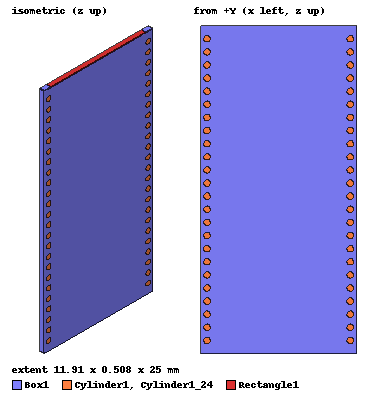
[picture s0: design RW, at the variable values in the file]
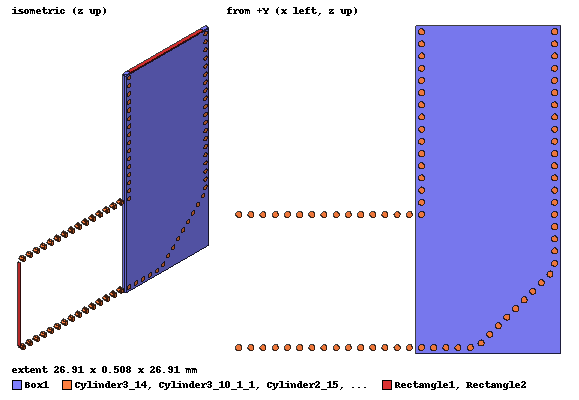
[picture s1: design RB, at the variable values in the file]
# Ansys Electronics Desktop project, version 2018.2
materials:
  vacuum: permittivity=1
  copper: permeability=0.999991 conductivity=58000000
  ferrite: permittivity=12 permeability=1000 conductivity=0.01
  Rogers RT/duroid 5880 (tm): permittivity=2.2 dielectric_loss_tangent=0.0009
  FR4_epoxy: permittivity=4.4 dielectric_loss_tangent=0.02

design RW (HFSS, DrivenModal, model units mm)
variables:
  Weq = wsiw+p
  h = 0.508mm
  l = 25*p
  d = 0.5mm
  p = 1mm
  wsiw = 10.915mm
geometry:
  Box1 [Rogers RT/duroid 5880 (tm)] = box(corner=(0mm, 0mm, 0mm), size=(Weq, h, l))
  Cylinder1 [copper] = cylinder(axis=Y, base_centre=(wsiw+(Weq-wsiw)/2, 0mm, l-p), radius=d/2, height=h)
  Cylinder1_1..Cylinder1_23 = Cylinder1.duplicate_along_line(step=(0mm, 0mm, -p), total=25)  # copies kept: 1..23
  Cylinder1.unite(Cylinder1_1..Cylinder1_23)
  Cylinder1_24 [copper] = Cylinder1.duplicate_mirror(point=(Weq/2, 0mm, l/2), normal=(-1mm, 0mm, 0mm))
  Rectangle1 = rectangle(corner=((Weq-wsiw)/2+d/2, h, l), x_size=wsiw-d, y_size=-h)
  Rectangle2 = rectangle(corner=((Weq-wsiw)/2+d/2, h, 0mm), x_size=wsiw-d, y_size=-h)
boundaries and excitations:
  PerfE1: Perfect E Faces=Box1.face(+y)
  PerfE2: Perfect E Faces=Box1.face(-y)
  1: Wave Port Objects=Rectangle1 NumModes=1 Modes{Mode1{IntLine{middle of Rectangle1.edge(y opposite corner) -> middle of Rectangle1.edge(y at corner)} CharImp=Zpi}}
  2: Wave Port Objects=Rectangle2 NumModes=1 Modes{Mode1{IntLine{middle of Rectangle2.edge(y opposite corner) -> middle of Rectangle2.edge(y at corner)} CharImp=Zpi}}
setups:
  Setup1: HfssDriven Frequency=15GHz MaxDeltaS=0.02 MaximumPasses=6 MinimumPasses=1 MinimumConvergedPasses=1 PercentRefinement=30 BasisOrder=1 PortAccuracy=2
    sweep Sweep: 12GHz to 18GHz, 351 points; Type=Interpolating InterpTolerance=0.5 InterpMaxSolns=250 InterpUsePortImped=false PassivityErrorTolerance=0.0001
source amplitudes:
  1:1: 1W 0deg
  2:1: 0W 0deg
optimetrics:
  ParametricSetup1: Parametric Sim._Setups=[Setup1]
    sweep p: ESTP 0.5mm 1.5mm 4
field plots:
  Mag_E1: E Field in Box1 on Setup1 : LastAdaptive at Freq=15GHz Phase=0deg
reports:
  S Parameter Plot 1: dB(S(1,1)) vs Freq on Setup1 : Sweep [p=all]
  S Parameter Plot 2: dB(S(2,1)) vs Freq on Setup1 : Sweep [p=all]

design RB (HFSS, DrivenModal, model units mm)
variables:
  Weq = wsiw+p
  h = 0.508mm
  l = 15*p
  d = 0.5mm
  p = 1mm
  wsiw = 10.915mm
  delta = 0.5mm
  l_extr = Weq
  l2 = l
  dz = 0.5mm
  Aopt = 10.915mm
  cham = 2mm
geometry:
  Box1 [Rogers RT/duroid 5880 (tm)] = box(corner=(0mm, 0mm, 0mm), size=(Weq, h, l))
  Cylinder1 = cylinder(axis=Y, base_centre=(wsiw+(Weq-wsiw)/2, 0mm, l-p/2), radius=d/2, height=h)
  Cylinder1_12 [copper], Cylinder1_1..Cylinder1_11, Cylinder1_13, Cylinder1_14 = Cylinder1.duplicate_along_line(step=(0mm, 0mm, -p), total=16)  # copies kept: 12, 1..11, 13, 14
  Cylinder1_12.unite(Cylinder1_13, Cylinder1_14, Cylinder1_11, Cylinder1_10, Cylinder1_9, Cylinder1_7, Cylinder1_8, Cylinder1_6, Cylinder1_4, Cylinder1_5, Cylinder1_3, Cylinder1_2, Cylinder1_1, Cylinder1)
  Cylinder1_12_1 [copper] = Cylinder1_12.duplicate_mirror(point=(Weq/2, h/2, l/2), normal=(-1mm, 0mm, 0mm))
  Box1_SweepFaceAlongNormal1 = sweep_along_normal(Box1.face(-z), length=l_extr)
  Box1_SweepFaceAlongNormal1_SweepFaceAlongNormal1 = sweep_along_normal(Box1.face(3 of 6), length=l2)
  Cylinder2 [copper] = cylinder(axis=Y, base_centre=(Weq+(Weq-wsiw)/2, 0mm, -p/2), radius=d/2, height=h)
  Cylinder3 [copper] = cylinder(axis=Y, base_centre=((Weq-wsiw)/2, 0mm, -p/2), radius=d/2, height=h)
  Cylinder2_1..Cylinder2_14 = Cylinder2.duplicate_along_line(step=(p, 0mm, 0mm), total=15)
  Cylinder2.unite(Cylinder2_1..Cylinder2_14)
  Cylinder2_15 [copper] = Cylinder2.duplicate_mirror(point=(Weq+l/2, h/2, -Weq/2), normal=(0mm, 0mm, -1mm))
  Cylinder3_10 [copper] = Cylinder3.duplicate_mirror(point=(Weq/2, h/2, -Weq/2), normal=(1mm, 0mm, 0mm))
  coordinate_system RelativeCS1 = origin=(11.415mm, 0mm, -0.5mm) x=(-11.415mm, 0mm, -11.415mm) y=(-11.415mm, 0mm, 0.5mm)
  Cylinder3_10_1 [copper] = Cylinder3_10.duplicate_along_line(step=(Aopt, 0mm, 0mm), total=2) in RelativeCS1
  Cylinder3_10_2 [copper] = Cylinder3_10.duplicate_mirror(point=(Weq/2, 0mm, -Weq/2), normal=(0mm, 0mm, -1mm))
  Cylinder3_14 [copper], Cylinder3_11, Cylinder3_12, Cylinder3_13 = Cylinder3.duplicate_along_line(step=(0mm, 0mm, -p), total=6)  # copies kept: 4, 1, 2, 3
  coordinate_system RelativeCS2 = origin=(3.6969295mm, 0mm, -8.2180705mm) x=(1mm, 0mm, 0mm) y=(0mm, 1mm, 0mm)
  coordinate_system RelativeCS3 = origin=(0mm, 0mm, 0mm) x=(7.7180705mm, 0mm, 7.7180705mm) y=(7.7180705mm, 0mm, -3.1969295mm) in RelativeCS2
  Cylinder3_10_2_1..Cylinder3_10_2_4 = Cylinder3_10_2.duplicate_along_line(step=(-p, 0mm, 0mm), total=5)
  coordinate_system RelativeCS4 = origin=(1.5756091mm, 0mm, -6.0967502mm) x=(-1.0756091mm, 0mm, 2.5967502mm) y=(9.8393909mm, 0mm, 5.5967502mm)
  Box1.unite(Box1_SweepFaceAlongNormal1, Box1_SweepFaceAlongNormal1_SweepFaceAlongNormal1)
  Rectangle1 = rectangle(corner=(p/2+d/2, h, l), x_size=wsiw-d, y_size=-h)
  Rectangle2 = rectangle(corner=(Weq+l2, h, -(p/2+d/2)), y_size=-h, z_size=-wsiw+d)
  coordinate_system RelativeCS5 = origin=(3.6969295mm, 0.508mm, -8.2180705mm) x=(7.7180705mm, -9.9920072e-16mm, 7.7180705mm) y=(3.7180705mm, -9.9920072e-16mm, -3.1969295mm)
  coordinate_system RelativeCS6 = origin=(3.5969295mm, 0mm, -8.1180705mm) x=(7.7180705mm, 0mm, 7.7180705mm) y=(4.5180705mm, 0mm, -3.1969295mm)
  coordinate_system RelativeCS7 = origin=(3.6969295mm, 0mm, -8.2180705mm) x=(7.7180705mm, 0mm, 7.7180705mm) y=(2.7180705mm, 0mm, -3.1969295mm)
  Cylinder3_10_1_1 [copper], Cylinder3_10_1_2, Cylinder3_10_1_3, Cylinder3_10_1_4 = Cylinder3_10_1.duplicate_along_line(step=(0mm, 1mm, 0mm), total=5) in RelativeCS7
  Cylinder3_10_1_4_1 = Cylinder3_10_1_4.duplicate_mirror(point=(0mm, 0mm, 0mm), normal=(0mm, -1mm, 0mm)) in RelativeCS7
  Cylinder3_10_1_3_1 = Cylinder3_10_1_3.duplicate_mirror(point=(0mm, 0mm, 0mm), normal=(0mm, -1mm, 0mm)) in RelativeCS7
  Cylinder3_10_1_2_1 = Cylinder3_10_1_2.duplicate_mirror(point=(0mm, 0mm, 0mm), normal=(0mm, -1mm, 0mm)) in RelativeCS7
  Cylinder3_10_1_1_1 = Cylinder3_10_1_1.duplicate_mirror(point=(0mm, 0mm, 0mm), normal=(0mm, -1mm, 0mm)) in RelativeCS7
  Cylinder3_14.unite(Cylinder3_13, Cylinder3_12, Cylinder3_11, Cylinder3_10_2_1..Cylinder3_10_2_4)
  Cylinder3_10_1_1.unite(Cylinder3_10_1_1_1, Cylinder3_10_1_2, Cylinder3_10_1_3, Cylinder3_10_1_2_1, Cylinder3_10_1_3_1, Cylinder3_10_1_4, Cylinder3_10_1_4_1)
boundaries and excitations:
  PerfE1: Perfect E Faces=Box1.face(+y)
  PerfE2: Perfect E Faces=Box1.face(-y)
  1: Wave Port Objects=Rectangle1 NumModes=1 Modes{Mode1{IntLine{middle of Rectangle1.edge(y opposite corner) -> middle of Rectangle1.edge(y at corner)} CharImp=Zpi}}
  2: Wave Port Objects=Rectangle2 NumModes=1 Modes{Mode1{IntLine{middle of Rectangle2.edge(y opposite corner) -> middle of Rectangle2.edge(y at corner)} CharImp=Zpi}}
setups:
  Setup1: HfssDriven Frequency=15GHz MaxDeltaS=0.02 MaximumPasses=6 MinimumPasses=1 MinimumConvergedPasses=1 PercentRefinement=30 BasisOrder=1 PortAccuracy=2
    sweep Sweep: 12GHz to 18GHz, 351 points; Type=Interpolating InterpTolerance=0.5 InterpMaxSolns=250 InterpUsePortImped=false PassivityErrorTolerance=0.0001
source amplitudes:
  1:1: 1W 0deg
  2:1: 0W 0deg
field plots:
  Mag_E1: E Field in Box1 on Setup1 : LastAdaptive at Freq=15GHz Phase=0deg
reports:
  S Parameter Plot 1: dB(S(1,1)) vs Freq on Setup1 : Sweep
  S Parameter Plot 2: dB(S(2,1)) vs Freq on Setup1 : Sweep

design PowerDivider(1X2) (HFSS, DrivenModal, model units mm)
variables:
  Weq = wsiw+p
  h = 0.508mm
  l = 8*p
  d = 0.5mm
  p = 1mm
  wsiw = 10.915mm
  delta = p
  l_mid = Weq
  l_sid = 6*p
  l_arm = 10*p
  p1 = 2mm
  p_mid = Weq/11
  p_bend = 2.54mm
  ri = 0.34mm  # optimise 0.075mm..0.225mm
  l_i = 1mm  # optimise 1.5mm..4.5mm
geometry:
  Box1 [Rogers RT/duroid 5880 (tm)] = box(corner=(0mm, 0mm, 0mm), size=(Weq, h, l))
  Cylinder1 [copper] = cylinder(axis=Y, base_centre=((Weq-wsiw)/2, 0mm, l-p/2), radius=d/2, height=h)
  Rectangle1 = rectangle(corner=(Weq/2- wsiw/2+d/2, h, l), x_size=wsiw-d, y_size=-h)
  Box1_SweepFaceAlongNormal1 = sweep_along_normal(Box1.face(-z), length=l_mid)
  Box1_SweepFaceAlongNormal1_SweepFaceAlongNormal1, Box1_SweepFaceAlongNormal1_SweepFaceAlongNormal2 = sweep_along_normal(Box1.face(3 of 6, 5 of 6), length=l_sid)
  Box1_SweepFaceAlongNormal1_SweepFaceAlongNormal2_SweepFaceAlongNormal2 = sweep_along_normal(Box1.face(1 of 6), length=Weq)
  Box1_SweepFaceAlongNormal1_SweepFaceAlongNormal1_SweepFaceAlongNormal2 = sweep_along_normal(Box1.face(1 of 6), length=Weq)
  Box1_SweepFaceAlongNormal1_SweepFaceAlongNormal1_SweepFaceAlongNormal2_SweepFaceAlongNormal1 = sweep_along_normal(Box1.face(3 of 6), length=l_arm)
  Box1_SweepFaceAlongNormal1_SweepFaceAlongNormal2_SweepFaceAlongNormal2_SweepFaceAlongNormal1 = sweep_along_normal(Box1.face(3 of 6), length=l_arm)
  Cylinder1_1..Cylinder1_7 = Cylinder1.duplicate_along_line(step=(0mm, 0mm, -p), total=8)
  Cylinder2 = cylinder(axis=Y, base_centre=((Weq-wsiw)/2, 0mm, -p/2), radius=d/2, height=h)
  Cylinder3 [copper] = cylinder(axis=Y, base_centre=((Weq-wsiw)/2-p, 0mm, -p/2), radius=d/2, height=h)
  Cylinder3_1..Cylinder3_5 = Cylinder3.duplicate_along_line(step=(-p, 0mm, 0mm), total=6)
  Cylinder4 [copper] = cylinder(axis=Y, base_centre=((Weq-wsiw)/2-p-l_sid, 0mm, -p/2), radius=d/2, height=h)
  Cylinder5 = cylinder(axis=Y, base_centre=((Weq-wsiw)/2-p-l_sid-wsiw, 0mm, -p/2-wsiw), radius=d/2, height=h)
  Cylinder6 [copper] = cylinder(axis=Y, base_centre=((Weq-wsiw)/2-p-l_sid, 0mm, -p/2-wsiw), radius=d/2, height=h)
  coordinate_system RelativeCS1 = origin=(-6.5mm, 0mm, -11.415mm) x=(-11.415mm, 0mm, 11.415mm) y=(0.5mm, 0mm, 11.415mm)
  Cylinder6_1 = Cylinder6.duplicate_along_line(step=(wsiw, 0mm, 0mm), total=2) in RelativeCS1
  Cylinder4_1..Cylinder4_4 = Cylinder4.duplicate_along_line(step=(-1mm, 0mm, 0mm), total=5)
  Cylinder5_1..Cylinder5_4 = Cylinder5.duplicate_along_line(step=(0mm, 0mm, p), total=5)
  coordinate_system RelativeCS2 = origin=(-10.5mm, 0mm, -0.5mm) x=(-3.7180705mm, 0mm, -3.1969295mm) y=(-7.415mm, 0mm, 0.5mm)
  coordinate_system RelativeCS3 = origin=(9.7516328mm, -0.7349206mm, 0mm) x=(-4.8481232mm, 0.7349206mm, 0mm) y=(-5.6683935mm, -10.149214mm, 0mm) in RelativeCS2
  Cylinder7 [copper] = cylinder(axis=Y, base_centre=((Weq-wsiw)/2-p-l_sid-wsiw, 0mm, -p/2-wsiw-p), radius=d/2, height=h)
  Cylinder7_1..Cylinder7_9 = Cylinder7.duplicate_along_line(step=(0mm, 0mm, -p), total=10)
  Cylinder7.unite(Cylinder7_1..Cylinder7_9)
  Cylinder5.unite(Cylinder5_1..Cylinder5_4)
  Cylinder4.unite(Cylinder4_1..Cylinder4_4)
  Cylinder3.unite(Cylinder3_1..Cylinder3_5)
  coordinate_system RelativeCS4 = origin=(-l_sid/2, 0mm, -l_mid/2) x=(1mm, 0mm, 0mm) y=(0mm, 1mm, 0mm)
  Cylinder3_6 = Cylinder3.duplicate_mirror(point=(0mm, 0mm, 0mm), normal=(0mm, 0mm, -1mm)) in RelativeCS4
  Cylinder8 [copper] = cylinder(axis=Y, base_centre=((Weq-wsiw)/2, 0mm, -p/2-wsiw), radius=d/2, height=h)
  Cylinder8_1..Cylinder8_10 = Cylinder8.duplicate_along_line(step=(p_mid, 0mm, 0mm), total=11)
  Cylinder7_10 = Cylinder7.duplicate_mirror(point=(-l_sid-Weq/2, 0mm, -l_mid-l_arm/2), normal=(1mm, 0mm, 0mm))
  coordinate_system RelativeCS5 = origin=(Weq/2, 0mm, -l_mid/2) x=(1mm, 0mm, 0mm) y=(0mm, 1mm, 0mm)
  Cylinder3_7 = Cylinder3.duplicate_mirror(point=(0mm, 0mm, 0mm), normal=(1mm, 0mm, 0mm)) in RelativeCS5
  Cylinder4_5 [copper] = Cylinder4.duplicate_mirror(point=(0mm, 0mm, 0mm), normal=(1mm, 0mm, 0mm)) in RelativeCS5
  Cylinder5_5 = Cylinder5.duplicate_mirror(point=(0mm, 0mm, 0mm), normal=(1mm, 0mm, 0mm)) in RelativeCS5
  Cylinder6_1_1 = Cylinder6_1.duplicate_mirror(point=(0mm, 0mm, 0mm), normal=(1mm, 0mm, 0mm)) in RelativeCS5
  Cylinder7_11 = Cylinder7.duplicate_mirror(point=(0mm, 0mm, 0mm), normal=(1mm, 0mm, 0mm)) in RelativeCS5
  Cylinder7_10_1 = Cylinder7_10.duplicate_mirror(point=(0mm, 0mm, 0mm), normal=(1mm, 0mm, 0mm)) in RelativeCS5
  Cylinder3_6_1 = Cylinder3_6.duplicate_mirror(point=(0mm, 0mm, 0mm), normal=(1mm, 0mm, 0mm)) in RelativeCS5
  Cylinder2_1 [copper] = Cylinder2.duplicate_mirror(point=(0mm, 0.5mm, 0mm), normal=(1mm, 0mm, 0mm)) in RelativeCS5
  Cylinder1.unite(Cylinder1_1..Cylinder1_7)
  Cylinder1_8 = Cylinder1.duplicate_mirror(point=(0mm, 0.5mm, 0mm), normal=(1mm, 0mm, 0mm)) in RelativeCS5
  Cylinder2_1.unite(Cylinder2)
  Cylinder3.unite(Cylinder3_6, Cylinder3_6_1, Cylinder3_7)
  Cylinder6_2 = Cylinder6.duplicate_mirror(point=(0mm, 0.5mm, 0mm), normal=(1mm, 0mm, 0mm)) in RelativeCS5
  Cylinder6.unite(Cylinder6_2)
  Cylinder7.unite(Cylinder7_10, Cylinder7_10_1, Cylinder7_11)
  Cylinder8.unite(Cylinder8_1..Cylinder8_10)
  Cylinder1.unite(Cylinder1_8)
  Box1.unite(Box1_SweepFaceAlongNormal1, Box1_SweepFaceAlongNormal1_SweepFaceAlongNormal1, Box1_SweepFaceAlongNormal1_SweepFaceAlongNormal1_SweepFaceAlongNormal2, Box1_SweepFaceAlongNormal1_SweepFaceAlongNormal1_SweepFaceAlongNormal2_SweepFaceAlongNormal1, Box1_SweepFaceAlongNormal1_SweepFaceAlongNormal2, Box1_SweepFaceAlongNormal1_SweepFaceAlongNormal2_SweepFaceAlongNormal2_SweepFaceAlongNormal1, Box1_SweepFaceAlongNormal1_SweepFaceAlongNormal2_SweepFaceAlongNormal2)
  coordinate_system RelativeCS7 = origin=(-l_sid-Weq/2, 0mm, -l_mid-l_arm) x=(1mm, 0mm, 0mm) y=(0mm, 1mm, 0mm)
  Rectangle2 = rectangle(corner=(wsiw/2-d/2, h, 0), x_size=-wsiw+d, y_size=-h) in RelativeCS7
  Rectangle2_1 = Rectangle2.duplicate_mirror(point=(0mm, 0mm, 0mm), normal=(1mm, 0mm, 0mm)) in RelativeCS5
  Cylinder9 [copper] = cylinder(axis=Y, base_centre=(0mm, 0mm, -l_i), radius=ri, height=h) in RelativeCS5
  coordinate_system RelativeCS8 = origin=(10.915mm, 0mm, 0mm) x=(-10.915mm, 0mm, 0mm) y=(-0.36850236mm, -4.8896434mm, 0mm) in RelativeCS1
  Cylinder6_1_2..Cylinder6_1_5 = Cylinder6_1.duplicate_along_line(step=(0mm, 1mm, 0mm), total=5) in RelativeCS8
  Cylinder6_1_5_1 = Cylinder6_1_5.duplicate_mirror(point=(0mm, 0mm, 0mm), normal=(0mm, -1mm, 0mm)) in RelativeCS8
  Cylinder6_1_4_1 = Cylinder6_1_4.duplicate_mirror(point=(0mm, 0mm, 0mm), normal=(0mm, -1mm, 0mm)) in RelativeCS8
  Cylinder6_1_3_1 = Cylinder6_1_3.duplicate_mirror(point=(0mm, 0mm, 0mm), normal=(0mm, -1mm, 0mm)) in RelativeCS8
  Cylinder6_1_2_1 = Cylinder6_1_2.duplicate_mirror(point=(0mm, 0mm, 0mm), normal=(0mm, -1mm, 0mm)) in RelativeCS8
  Cylinder6_1_5_1.unite(Cylinder6_1_5, Cylinder6_1_4_1, Cylinder6_1_4, Cylinder6_1_3_1, Cylinder6_1_3, Cylinder6_1_2_1, Cylinder6_1_2)
  Cylinder6_1_5_1_1 = Cylinder6_1_5_1.duplicate_mirror(point=(0mm, 0mm, 0mm), normal=(-1mm, 0mm, 0mm)) in RelativeCS5
  Cylinder4_5.unite(Cylinder5_5, Cylinder5, Cylinder6_1_1, Cylinder6_1, Cylinder6_1_5_1, Cylinder6_1_5_1_1)
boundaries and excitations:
  PerfE1: Perfect E Faces=Box1.face(4 of 6, 6 of 6)
  1: Wave Port Faces=Rectangle1.face NumModes=1 Modes{Mode1{IntLine{middle of Rectangle1.edge(y opposite corner) -> middle of Rectangle1.edge(y at corner)} CharImp=Zpi}}
  2: Wave Port Faces=Rectangle2_1.face NumModes=1 Modes{Mode1{IntLine{middle of Rectangle2_1.edge(3 of 4) -> middle of Rectangle2_1.edge(1 of 4)} CharImp=Zpi}}
  3: Wave Port Faces=Rectangle2.face(at (-11.9575, 0.254, -21.915)) NumModes=1 Modes{Mode1{IntLine{middle of Rectangle2.edge(3 of 4) -> middle of Rectangle2.edge(1 of 4)} CharImp=Zpi}}
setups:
  Setup1: HfssDriven Frequency=15GHz MaxDeltaS=0.02 MaximumPasses=6 MinimumPasses=1 MinimumConvergedPasses=1 PercentRefinement=30 BasisOrder=1 PortAccuracy=2
    sweep Sweep: 12GHz to 18GHz, 351 points; Type=Interpolating InterpTolerance=0.5 InterpMaxSolns=250 InterpUsePortImped=false PassivityErrorTolerance=0.0001
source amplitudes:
  1:1: 1W 0deg
  2:1, 3:1: 0W 0deg
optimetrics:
  OptimizationSetup1: Optimization Optimizer="Quasi Newton" AnalysisStopOptions{StopForNumIteration MaxNumIteration=1000 MinNumIteration=10} CostFuncNormType=L2 Acceptable_Cost=0 Noise=0.0001 UpdateDesignWhenDone
    vary l_i: Min=0.55mm Max=1.15mm MinStep=0.03mm MaxStep=0.3mm MinFocus=1.5mm MaxFocus=4.5mm start=0.88mm
    vary ri: Min=0.25mm Max=0.45mm MinStep=0.0015mm MaxStep=0.015mm MinFocus=0.075mm MaxFocus=0.225mm start=0.36mm
    goal dB(S(1,1)) <= -20 weight 1 on Setup1 : Sweep at Freq 13GHz to 17GHz
  ParametricSetup1: Parametric Sim._Setups=[Setup1]
    sweep ri: LIN 0.2mm 0.4mm 0.1mm
    sweep l_i: LIN 0.4mm 1mm 0.2mm
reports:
  S Parameter Plot 1: dB(S(1,1)) vs Freq on Setup1 : Sweep [ri=0.34mm l_i=1mm]; markers m1 at 15GHz
  S Parameter Plot 2: dB(S(2,1)), dB(S(3,1)) vs Freq on Setup1 : Sweep [ri=0.34mm l_i=1mm]; markers m1 at 15GHz
  S Parameter Plot 3: arg(S(2,1)), arg(S(3,1)) vs Freq on Setup1 : Sweep [ri=0.34mm l_i=1mm]

design PowerDivider(1X4) (HFSS, DrivenModal, model units mm)
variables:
  Weq = wsiw+p
  h = 0.5mm
  l = 8*p
  d = 0.5mm
  p = 1mm
  wsiw = 11mm
  delta = p
  l_mid = Weq
  l_sid = 6*p
  l_arm = 12*p
  p1 = 2mm
  p_mid = Weq/11
  p_bend = 2.54mm
  ri = 0.55mm  # optimise 0.075mm..0.225mm; sensitivity 0.18mm..0.54mm
  l_i = 1mm  # optimise 1.5mm..4.5mm; sensitivity 0.44mm..1.32mm
  l_sid2 = 6mm
  l_arm2 = 10mm
  li2 = 1mm  # optimise 0.44mm..1.32mm; sensitivity 0.45mm..1.35mm
  ri2 = 0.51mm  # optimise 0.18mm..0.54mm; sensitivity 0.18mm..0.54mm
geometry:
  Box1 = box(corner=(0mm, 0mm, 0mm), size=(Weq, h, l))
  Cylinder1 = cylinder(axis=Y, base_centre=((Weq-wsiw)/2, 0mm, l-p/2), radius=d/2, height=h)
  Rectangle1 = rectangle(corner=(Weq/2- wsiw/2+d/2, h, l), x_size=wsiw-d, y_size=-h)
  Box1_SweepFaceAlongNormal1 [Rogers RT/duroid 5880 (tm)] = sweep_along_normal(Box1_SweepFaceAlongNormal1.face(2 of 6), length=l_mid)
  Box1_SweepFaceAlongNormal1_SweepFaceAlongNormal1, Box1_SweepFaceAlongNormal1_SweepFaceAlongNormal2 = sweep_along_normal(Box1_SweepFaceAlongNormal1.face(at (12, 0.25, -6), at (0, 0.25, -6)), length=l_sid)
  Box1_SweepFaceAlongNormal1_SweepFaceAlongNormal2_SweepFaceAlongNormal2 = sweep_along_normal(Box1_SweepFaceAlongNormal1.face(1 of 6), length=Weq)
  Box1_SweepFaceAlongNormal1_SweepFaceAlongNormal1_SweepFaceAlongNormal2 = sweep_along_normal(Box1_SweepFaceAlongNormal1.face(1 of 6), length=Weq)
  Box1_SweepFaceAlongNormal1_SweepFaceAlongNormal1_SweepFaceAlongNormal2_SweepFaceAlongNormal1 = sweep_along_normal(Box1_SweepFaceAlongNormal1.face(3 of 6), length=l_arm)
  Box1_SweepFaceAlongNormal1_SweepFaceAlongNormal2_SweepFaceAlongNormal2_SweepFaceAlongNormal1 = sweep_along_normal(Box1_SweepFaceAlongNormal1.face(3 of 6), length=l_arm)
  Cylinder1_1..Cylinder1_7 = Cylinder1.duplicate_along_line(step=(0mm, 0mm, -p), total=8)
  Cylinder2 = cylinder(axis=Y, base_centre=((Weq-wsiw)/2, 0mm, -p/2), radius=d/2, height=h)
  Cylinder3 = cylinder(axis=Y, base_centre=((Weq-wsiw)/2-p, 0mm, -p/2), radius=d/2, height=h)
  Cylinder3_1..Cylinder3_5 = Cylinder3.duplicate_along_line(step=(-p, 0mm, 0mm), total=6)
  Cylinder4 = cylinder(axis=Y, base_centre=((Weq-wsiw)/2-p-l_sid, 0mm, -p/2), radius=d/2, height=h)
  Cylinder5 = cylinder(axis=Y, base_centre=((Weq-wsiw)/2-p-l_sid-wsiw, 0mm, -p/2-wsiw), radius=d/2, height=h)
  Cylinder6 = cylinder(axis=Y, base_centre=((Weq-wsiw)/2-p-l_sid, 0mm, -p/2-wsiw), radius=d/2, height=h)
  coordinate_system RelativeCS1 = origin=(-6.5mm, 0mm, -11.415mm) x=(-11.415mm, 0mm, 11.415mm) y=(0.5mm, 0mm, 11.415mm)
  Cylinder6_1 = Cylinder6.duplicate_along_line(step=(wsiw, 0mm, 0mm), total=2) in RelativeCS1
  Cylinder4_1..Cylinder4_4 = Cylinder4.duplicate_along_line(step=(-1mm, 0mm, 0mm), total=5)
  Cylinder5_1..Cylinder5_4 = Cylinder5.duplicate_along_line(step=(0mm, 0mm, p), total=5)
  coordinate_system RelativeCS2 = origin=(-10.5mm, 0mm, -0.5mm) x=(-3.7180705mm, 0mm, -3.1969295mm) y=(-7.415mm, 0mm, 0.5mm)
  Cylinder4_4_1..Cylinder4_4_4 = Cylinder4_4.duplicate_along_line(step=(p, 0mm, 0mm), total=5) in RelativeCS2
  coordinate_system RelativeCS3 = origin=(9.7516328mm, -0.7349206mm, 0mm) x=(-4.8481232mm, 0.7349206mm, 0mm) y=(-5.6683935mm, -10.149214mm, 0mm) in RelativeCS2
  Cylinder5_4_1..Cylinder5_4_4 = Cylinder5_4.duplicate_along_line(step=(p, 0mm, 0mm), total=5) in RelativeCS3
  Cylinder5.unite(Cylinder5_1..Cylinder5_4)
  Cylinder4.unite(Cylinder4_1..Cylinder4_4)
  Cylinder3.unite(Cylinder3_1..Cylinder3_5)
  Cylinder5_4_1.unite(Cylinder5_4_2, Cylinder5_4_3, Cylinder5_4_4, Cylinder4_4_4, Cylinder4_4_3, Cylinder4_4_2, Cylinder4_4_1)
  coordinate_system RelativeCS4 = origin=(-l_sid/2, 0mm, -l_mid/2) x=(1mm, 0mm, 0mm) y=(0mm, 1mm, 0mm)
  Cylinder3_6 = Cylinder3.duplicate_mirror(point=(0mm, 0mm, 0mm), normal=(0mm, 0mm, -1mm)) in RelativeCS4
  Cylinder8 = cylinder(axis=Y, base_centre=((Weq-wsiw)/2, 0mm, -p/2-wsiw), radius=d/2, height=h)
  Cylinder8_1..Cylinder8_10 = Cylinder8.duplicate_along_line(step=(p_mid, 0mm, 0mm), total=11)
  coordinate_system RelativeCS5 = origin=(Weq/2, 0mm, -l_mid/2) x=(1mm, 0mm, 0mm) y=(0mm, 1mm, 0mm)
  Cylinder3_7 = Cylinder3.duplicate_mirror(point=(0mm, 0mm, 0mm), normal=(1mm, 0mm, 0mm)) in RelativeCS5
  Cylinder4_5 [copper] = Cylinder4.duplicate_mirror(point=(0mm, 0mm, 0mm), normal=(1mm, 0mm, 0mm)) in RelativeCS5
  Cylinder5_4_1_1 = Cylinder5_4_1.duplicate_mirror(point=(0mm, 0mm, 0mm), normal=(1mm, 0mm, 0mm)) in RelativeCS5
  Cylinder5_5 = Cylinder5.duplicate_mirror(point=(0mm, 0mm, 0mm), normal=(1mm, 0mm, 0mm)) in RelativeCS5
  Cylinder6_1_1 = Cylinder6_1.duplicate_mirror(point=(0mm, 0mm, 0mm), normal=(1mm, 0mm, 0mm)) in RelativeCS5
  Cylinder3_6_1 = Cylinder3_6.duplicate_mirror(point=(0mm, 0mm, 0mm), normal=(1mm, 0mm, 0mm)) in RelativeCS5
  Cylinder2_1 = Cylinder2.duplicate_mirror(point=(0mm, 0.5mm, 0mm), normal=(1mm, 0mm, 0mm)) in RelativeCS5
  Cylinder1.unite(Cylinder1_1..Cylinder1_7)
  Cylinder1_8 = Cylinder1.duplicate_mirror(point=(0mm, 0.5mm, 0mm), normal=(1mm, 0mm, 0mm)) in RelativeCS5
  Cylinder2_1.unite(Cylinder2)
  Cylinder3.unite(Cylinder3_6, Cylinder3_6_1, Cylinder3_7)
  Cylinder6_2 = Cylinder6.duplicate_mirror(point=(0mm, 0.5mm, 0mm), normal=(1mm, 0mm, 0mm)) in RelativeCS5
  Cylinder6.unite(Cylinder6_2)
  Cylinder8.unite(Cylinder8_1..Cylinder8_10)
  Cylinder1.unite(Cylinder1_8)
  Cylinder9 [copper] = cylinder(axis=Y, base_centre=(0, 0mm, -l_i), radius=ri, height=h) in RelativeCS5
  coordinate_system RelativeCS7 = origin=(-l_sid-Weq/2, 0mm, -l_mid-l_arm) x=(1mm, 0mm, 0mm) y=(0mm, 1mm, 0mm)
  Box1_SweepFaceAlongNormal1_SweepFaceAlongNormal1_SweepFaceAlongNormal2_SweepFaceAlongNormal1_SweepFaceAlongNormal2 = sweep_along_normal(Box1_SweepFaceAlongNormal1.face(3 of 6), length=l_sid2)
  Box1_SweepFaceAlongNormal1_SweepFaceAlongNormal2_SweepFaceAlongNormal2_SweepFaceAlongNormal1_SweepFaceAlongNormal2 = sweep_along_normal(Box1_SweepFaceAlongNormal1.face(3 of 6), length=l_sid2)
  Box1_SweepFaceAlongNormal1_SweepFaceAlongNormal1_SweepFaceAlongNormal3 = sweep_along_normal(Box1_SweepFaceAlongNormal1.face(3 of 6), length=l_arm)
  Box1_SweepFaceAlongNormal1_SweepFaceAlongNormal3 = sweep_along_normal(Box1_SweepFaceAlongNormal1.face(at (6, 0.25, -12)), length=l_arm)
  Box1_SweepFaceAlongNormal1_SweepFaceAlongNormal2_SweepFaceAlongNormal3 = sweep_along_normal(Box1_SweepFaceAlongNormal1.face(3 of 6), length=l_arm)
  Box1_SweepFaceAlongNormal1_SweepFaceAlongNormal1_SweepFaceAlongNormal2_SweepFaceAlongNormal1_SweepFaceAlongNormal2_SweepFaceAlongNormal1 = sweep_along_normal(Box1_SweepFaceAlongNormal1_SweepFaceAlongNormal1_SweepFaceAlongNormal2_SweepFaceAlongNormal1_SweepFaceAlongNormal2.face(1 of 6), length=Weq)
  Box1_SweepFaceAlongNormal1_SweepFaceAlongNormal1_SweepFaceAlongNormal2_SweepFaceAlongNormal1_SweepFaceAlongNormal2.delete()
  Box1_SweepFaceAlongNormal1_SweepFaceAlongNormal2_SweepFaceAlongNormal2_SweepFaceAlongNormal1_SweepFaceAlongNormal2_SweepFaceAlongNormal1 = sweep_along_normal(Box1_SweepFaceAlongNormal1_SweepFaceAlongNormal2_SweepFaceAlongNormal2_SweepFaceAlongNormal1_SweepFaceAlongNormal2.face(1 of 6), length=Weq)
  Box1_SweepFaceAlongNormal1_SweepFaceAlongNormal2_SweepFaceAlongNormal2_SweepFaceAlongNormal1_SweepFaceAlongNormal2.delete()
  Box1_SweepFaceAlongNormal1_SweepFaceAlongNormal1_SweepFaceAlongNormal2_SweepFaceAlongNormal1_SweepFaceAlongNormal2_SweepFaceAlongNormal1_SweepFaceAlongNormal1 = sweep_along_normal(Box1_SweepFaceAlongNormal1.face(3 of 6), length=l_arm2)
  Box1_SweepFaceAlongNormal1_SweepFaceAlongNormal2_SweepFaceAlongNormal2_SweepFaceAlongNormal1_SweepFaceAlongNormal2_SweepFaceAlongNormal1_SweepFaceAlongNormal1 = sweep_along_normal(Box1_SweepFaceAlongNormal1.face(3 of 6), length=l_arm2)
  Box1_SweepFaceAlongNormal1_SweepFaceAlongNormal1_SweepFaceAlongNormal3_SweepFaceAlongNormal1 = sweep_along_normal(Box1_SweepFaceAlongNormal1.face(1 of 6), length=l_arm2)
  Box1_SweepFaceAlongNormal1_SweepFaceAlongNormal3_SweepFaceAlongNormal1 = sweep_along_normal(Box1_SweepFaceAlongNormal1.face(1 of 6), length=l_arm2)
  Box1_SweepFaceAlongNormal1_SweepFaceAlongNormal2_SweepFaceAlongNormal3_SweepFaceAlongNormal1 = sweep_along_normal(Box1_SweepFaceAlongNormal1.face(1 of 6), length=l_arm2)
  Cylinder4_5_1 = Cylinder4_5.duplicate_along_line(step=(18mm, 0mm, -12mm), total=2)
  Cylinder5_4_1_1_1 = Cylinder5_4_1_1.duplicate_along_line(step=(18mm, 0mm, -12mm), total=2)
  Cylinder5_5_1 = Cylinder5_5.duplicate_along_line(step=(18mm, 0mm, -12mm), total=2)
  Cylinder6_1_1_1 = Cylinder6_1_1.duplicate_along_line(step=(18mm, 0mm, -12mm), total=2)
  Cylinder4_6 = Cylinder4.duplicate_along_line(step=(-18mm, 0mm, -12mm), total=2)
  Cylinder5_4_1_2 = Cylinder5_4_1.duplicate_along_line(step=(-18mm, 0mm, -12mm), total=2)
  Cylinder6_1_2 = Cylinder6_1.duplicate_along_line(step=(-18mm, 0mm, -12mm), total=2)
  Cylinder5_6 = Cylinder5.duplicate_along_line(step=(-18mm, 0mm, -12mm), total=2)
  Cylinder8_11 = Cylinder8.duplicate_along_line(step=(18mm, 0mm, -12mm), total=2)
  Cylinder8_12 = Cylinder8.duplicate_along_line(step=(-18mm, 0mm, -12mm), total=2)
  [Cylinder5_5_1, Cylinder4_5_1, Cylinder5_4_1_1_1, Cylinder6_1_1_1, Box1_SweepFaceAlongNormal1_SweepFaceAlongNormal1_SweepFaceAlongNormal2_SweepFaceAlongNormal1_SweepFaceAlongNormal2_SweepFaceAlongNormal1_SweepFaceAlongNormal1, Box1_SweepFaceAlongNormal1_SweepFaceAlongNormal1_SweepFaceAlongNormal2_SweepFaceAlongNormal1_SweepFaceAlongNormal2_SweepFaceAlongNormal1].move(-6mm, 0mm, 0mm)
  [Cylinder5_4_1_2, Cylinder6_1_2, Cylinder4_6, Cylinder5_6, Box1_SweepFaceAlongNormal1_SweepFaceAlongNormal2_SweepFaceAlongNormal2_SweepFaceAlongNormal1_SweepFaceAlongNormal2_SweepFaceAlongNormal1, Box1_SweepFaceAlongNormal1_SweepFaceAlongNormal2_SweepFaceAlongNormal2_SweepFaceAlongNormal1_SweepFaceAlongNormal2_SweepFaceAlongNormal1_SweepFaceAlongNormal1].move(6mm, 0mm, 0mm)
  Box1_SweepFaceAlongNormal1_SweepFaceAlongNormal1_SweepFaceAlongNormal3.unite(Box1_SweepFaceAlongNormal1_SweepFaceAlongNormal3, Box1_SweepFaceAlongNormal1_SweepFaceAlongNormal2_SweepFaceAlongNormal3)
  Cylinder5_4_1_1_1_1 = Cylinder5_4_1_1_1.duplicate_mirror(point=(24mm, 0mm, -18mm), normal=(-1mm, 0mm, 0mm))
  Cylinder4_5_1_1 = Cylinder4_5_1.duplicate_mirror(point=(24mm, 0mm, -18mm), normal=(-1mm, 0mm, 0mm))
  Cylinder6_1_1_1_1 = Cylinder6_1_1_1.duplicate_mirror(point=(24mm, 0mm, -18mm), normal=(-1mm, 0mm, 0mm))
  Cylinder5_5_1_1 = Cylinder5_5_1.duplicate_mirror(point=(24mm, 0mm, -18mm), normal=(-1mm, 0mm, 0mm))
  Cylinder5_4_1_2_1 = Cylinder5_4_1_2.duplicate_mirror(point=(-12mm, 0mm, -18mm), normal=(1mm, 0mm, 0mm))
  Cylinder6_1_2_1 = Cylinder6_1_2.duplicate_mirror(point=(-12mm, 0mm, -18mm), normal=(1mm, 0mm, 0mm))
  Cylinder4_6_1 = Cylinder4_6.duplicate_mirror(point=(-12mm, 0mm, -18mm), normal=(1mm, 0mm, 0mm))
  Cylinder5_6_1 = Cylinder5_6.duplicate_mirror(point=(-12mm, 0mm, -18mm), normal=(1mm, 0mm, 0mm))
  Cylinder10 = cylinder(axis=Y, base_centre=(3*Weq+l_sid-p/2, 0mm, -(l_mid+Weq+p/2)), radius=d/2, height=h)
  Cylinder11 = cylinder(axis=Y, base_centre=(3*Weq+l_sid-p/2-wsiw, 0mm, -(l_mid+Weq-p/2)), radius=d/2, height=h)
  Cylinder11_1 = Cylinder11.duplicate_mirror(point=(1.5*Weq+l_sid, 0mm, -(l_mid+Weq)), normal=(-1mm, 0mm, 0mm))
  Cylinder11_1_1 = Cylinder11_1.duplicate_along_line(step=(0mm, 0mm, -p), total=2)
  Cylinder11_1_1_1..Cylinder11_1_1_9 = Cylinder11_1_1.duplicate_along_line(step=(3.5527137e-15mm, 0mm, -1mm), total=10)
  Cylinder12 = cylinder(axis=Y, base_centre=(Weq/2+p/2, 0mm, -(l_mid+Weq+p/2)), radius=d/2, height=h)
  Cylinder12_1..Cylinder12_9 = Cylinder12.duplicate_along_line(step=(0mm, 0mm, -p), total=10)
  Cylinder12_9.unite(Cylinder12_8, Cylinder12_7, Cylinder12_5, Cylinder12_1..Cylinder12_4, Cylinder12_6, Cylinder12)
  Cylinder12_9_1 = Cylinder12_9.duplicate_mirror(point=(0mm, 0mm, 0mm), normal=(-1mm, 0mm, 0mm)) in RelativeCS5
  Cylinder11_1_1_10 = Cylinder11_1_1.duplicate_mirror(point=(0mm, 0mm, 0mm), normal=(-1mm, 0mm, 0mm)) in RelativeCS5
  Cylinder11_1_1_1_1 = Cylinder11_1_1_1.duplicate_mirror(point=(0mm, 0mm, 0mm), normal=(-1mm, 0mm, 0mm)) in RelativeCS5
  Cylinder11_1_1_2_1 = Cylinder11_1_1_2.duplicate_mirror(point=(0mm, 0mm, 0mm), normal=(-1mm, 0mm, 0mm)) in RelativeCS5
  Cylinder11_1_1_3_1 = Cylinder11_1_1_3.duplicate_mirror(point=(0mm, 0mm, 0mm), normal=(-1mm, 0mm, 0mm)) in RelativeCS5
  Cylinder11_1_1_5_1 = Cylinder11_1_1_5.duplicate_mirror(point=(0mm, 0mm, 0mm), normal=(-1mm, 0mm, 0mm)) in RelativeCS5
  Cylinder11_1_1_4_1 = Cylinder11_1_1_4.duplicate_mirror(point=(0mm, 0mm, 0mm), normal=(-1mm, 0mm, 0mm)) in RelativeCS5
  Cylinder11_1_1_6_1 = Cylinder11_1_1_6.duplicate_mirror(point=(0mm, 0mm, 0mm), normal=(-1mm, 0mm, 0mm)) in RelativeCS5
  Cylinder11_1_1_7_1 = Cylinder11_1_1_7.duplicate_mirror(point=(0mm, 0mm, 0mm), normal=(-1mm, 0mm, 0mm)) in RelativeCS5
  Cylinder11_1_1_8_1 = Cylinder11_1_1_8.duplicate_mirror(point=(0mm, 0mm, 0mm), normal=(-1mm, 0mm, 0mm)) in RelativeCS5
  Cylinder11_1_1_9_1 = Cylinder11_1_1_9.duplicate_mirror(point=(0mm, 0mm, 0mm), normal=(-1mm, 0mm, 0mm)) in RelativeCS5
  Cylinder11_1_2 = Cylinder11_1.duplicate_mirror(point=(0mm, 0mm, 0mm), normal=(-1mm, 0mm, 0mm)) in RelativeCS5
  Cylinder6_3 = Cylinder6.duplicate_along_line(step=(0mm, 0mm, -p), total=2) in RelativeCS5
  Cylinder10_1..Cylinder10_9 = Cylinder10.duplicate_along_line(step=(0mm, 0mm, -p), total=10) in RelativeCS5
  Cylinder10_1.unite(Cylinder10, Cylinder10_2..Cylinder10_9)
  Cylinder10_1_1 = Cylinder10_1.duplicate_mirror(point=(30mm, 0mm, -23mm), normal=(-1mm, 0mm, 0mm)) in RelativeCS5
  Cylinder13 = cylinder(axis=Y, base_centre=((2*Weq+l_sid-p/2), 0mm, -(l_mid+p/2)), radius=d/2, height=h)
  Cylinder13_1 = Cylinder13.duplicate_mirror(point=(0mm, 0mm, 0mm), normal=(-1mm, 0mm, 0mm)) in RelativeCS5
  Cylinder10_1_2 = Cylinder10_1.duplicate_mirror(point=(0mm, 0mm, 0mm), normal=(-1mm, 0mm, 0mm)) in RelativeCS5
  Cylinder10_1_1_1 = Cylinder10_1_1.duplicate_mirror(point=(0mm, 0mm, 0mm), normal=(-1mm, 0mm, 0mm)) in RelativeCS5
  coordinate_system RelativeCS8 = origin=(1.5*Weq+l_sid, 0mm, -(l_mid+Weq/2)) x=(1mm, 0mm, 0mm) y=(0mm, 1mm, 0mm)
  ind2 [copper] = cylinder(axis=Y, base_centre=(0mm, 0mm, -(li2)), radius=ri2, height=h) in RelativeCS8
  ind2_1 = ind2.duplicate_mirror(point=(0mm, 0mm, 0mm), normal=(-1mm, 0mm, 0mm)) in RelativeCS5
  Cylinder11_2 = Cylinder11.duplicate_mirror(point=(0mm, 0.5mm, 0mm), normal=(-1mm, 0mm, 0mm)) in RelativeCS5
  Box1_SweepFaceAlongNormal1.unite(Box1_SweepFaceAlongNormal1_SweepFaceAlongNormal1, Box1_SweepFaceAlongNormal1_SweepFaceAlongNormal1_SweepFaceAlongNormal2, Box1_SweepFaceAlongNormal1_SweepFaceAlongNormal2_SweepFaceAlongNormal2, Box1_SweepFaceAlongNormal1_SweepFaceAlongNormal2, Box1)
  Box1_SweepFaceAlongNormal1_SweepFaceAlongNormal1_SweepFaceAlongNormal2_SweepFaceAlongNormal1.unite(Box1_SweepFaceAlongNormal1_SweepFaceAlongNormal1_SweepFaceAlongNormal2_SweepFaceAlongNormal1_SweepFaceAlongNormal2_SweepFaceAlongNormal1, Box1_SweepFaceAlongNormal1_SweepFaceAlongNormal1_SweepFaceAlongNormal2_SweepFaceAlongNormal1_SweepFaceAlongNormal2_SweepFaceAlongNormal1_SweepFaceAlongNormal1, Box1_SweepFaceAlongNormal1_SweepFaceAlongNormal1_SweepFaceAlongNormal3, Box1_SweepFaceAlongNormal1_SweepFaceAlongNormal1_SweepFaceAlongNormal3_SweepFaceAlongNormal1, Box1_SweepFaceAlongNormal1_SweepFaceAlongNormal2_SweepFaceAlongNormal2_SweepFaceAlongNormal1, Box1_SweepFaceAlongNormal1_SweepFaceAlongNormal2_SweepFaceAlongNormal2_SweepFaceAlongNormal1_SweepFaceAlongNormal2_SweepFaceAlongNormal1, Box1_SweepFaceAlongNormal1_SweepFaceAlongNormal2_SweepFaceAlongNormal2_SweepFaceAlongNormal1_SweepFaceAlongNormal2_SweepFaceAlongNormal1_SweepFaceAlongNormal1, Box1_SweepFaceAlongNormal1_SweepFaceAlongNormal2_SweepFaceAlongNormal3_SweepFaceAlongNormal1, Box1_SweepFaceAlongNormal1_SweepFaceAlongNormal3_SweepFaceAlongNormal1)
  Cylinder4_5.unite(Cylinder4_5_1, Cylinder4_5_1_1, Cylinder5, Cylinder5_4_1_1, Cylinder5_4_1, Cylinder5_4_1_1_1, Cylinder5_4_1_2, Cylinder5_4_1_1_1_1, Cylinder5_4_1_2_1, Cylinder5_5, Cylinder5_5_1, Cylinder5_5_1_1, Cylinder5_6, Cylinder5_6_1, Cylinder6_1, Cylinder6_1_1, Cylinder6_1_1_1_1, Cylinder6_1_2, Cylinder6_1_2_1, Cylinder6_1_1_1, Cylinder1, Cylinder2_1, Cylinder3, Cylinder4, Cylinder4_6, Cylinder4_6_1, Cylinder6, Cylinder6_3, Cylinder8_11, Cylinder8_12, Cylinder10_1, Cylinder10_1_1, Cylinder10_1_1_1, Cylinder10_1_2, Cylinder11, Cylinder11_1, Cylinder11_1_1, Cylinder11_1_1_1, Cylinder11_1_1_1_1, Cylinder11_1_1_2, Cylinder11_1_1_2_1, Cylinder11_1_1_3, Cylinder11_1_1_3_1, Cylinder11_1_1_4, Cylinder11_1_1_4_1, Cylinder11_1_1_5, Cylinder11_1_1_5_1, Cylinder11_1_1_6, Cylinder11_1_1_6_1, Cylinder11_1_1_7, Cylinder11_1_1_7_1, Cylinder11_1_1_8, Cylinder11_1_1_8_1, Cylinder11_1_1_9, Cylinder11_1_1_9_1, Cylinder11_1_1_10, Cylinder11_1_2, Cylinder11_2, Cylinder12_9, Cylinder12_9_1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)
  ind2.unite(ind2_1)
  coordinate_system RelativeCS9 = origin=(36mm, 0mm, -34mm) x=(1mm, 0mm, 0mm) y=(0mm, 1mm, 0mm)
  Rectangle2 = rectangle(corner=(wsiw/2-d/2, 0mm, 0mm), x_size=-wsiw+d, y_size=h) in RelativeCS9
  Rectangle2_1 = Rectangle2.duplicate_mirror(point=(0mm, 0mm, 0mm), normal=(-1mm, 0mm, 0mm)) in RelativeCS5
  Rectangle3 = rectangle(corner=(wsiw+d/2, h, -(l_mid/2+Weq+l_arm2)), x_size=-wsiw+d, y_size=-h) in RelativeCS5
  Rectangle3_1 = Rectangle3.duplicate_mirror(point=(0mm, 0mm, 0mm), normal=(-1mm, 0mm, 0mm)) in RelativeCS5
  Box1_SweepFaceAlongNormal1.unite(Box1_SweepFaceAlongNormal1_SweepFaceAlongNormal1_SweepFaceAlongNormal2_SweepFaceAlongNormal1)
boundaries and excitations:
  PerfE1: Perfect E Faces=Box1_SweepFaceAlongNormal1.face(at (6, 0.5, -6), at (6, 0, -6))
  1: Wave Port Faces=Rectangle1.face NumModes=1 Modes{Mode1{IntLine{middle of Rectangle1.edge(y opposite corner) -> middle of Rectangle1.edge(y at corner)} CharImp=Zpi}}
  2: Wave Port Objects=Rectangle2 NumModes=1 Modes{Mode1{IntLine{middle of Rectangle2.edge(1 of 4) -> middle of Rectangle2.edge(3 of 4)} CharImp=Zpi}}
  3: Wave Port Objects=Rectangle3 NumModes=1 Modes{Mode1{IntLine{middle of Rectangle3.edge(3 of 4) -> middle of Rectangle3.edge(1 of 4)} CharImp=Zpi}}
  4: Wave Port Objects=Rectangle3_1 NumModes=1 Modes{Mode1{IntLine{middle of Rectangle3_1.edge(3 of 4) -> middle of Rectangle3_1.edge(1 of 4)} CharImp=Zpi}}
  5: Wave Port Objects=Rectangle2_1 NumModes=1 Modes{Mode1{IntLine{middle of Rectangle2_1.edge(1 of 4) -> middle of Rectangle2_1.edge(3 of 4)} CharImp=Zpi}}
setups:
  Setup1: HfssDriven Frequency=15GHz MaxDeltaS=0.02 MaximumPasses=6 MinimumPasses=1 MinimumConvergedPasses=1 PercentRefinement=30 BasisOrder=1 PortAccuracy=2
    sweep Sweep: 12GHz to 18GHz, 351 points; Type=Interpolating InterpTolerance=0.5 InterpMaxSolns=250 InterpUsePortImped=false PassivityErrorTolerance=0.0001
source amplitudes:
  1:1: 1W 0deg
  2:1, 3:1, 4:1, 5:1: 0W 0deg
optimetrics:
  OptimizationSetup1: Optimization Optimizer="Quasi Newton" AnalysisStopOptions{StopForNumIteration MaxNumIteration=1000 MinNumIteration=10} CostFuncNormType=L2 Acceptable_Cost=0 Noise=0.0001 UpdateDesignWhenDone
    vary li2: Min=0.8mm Max=1mm MinStep=0.0088mm MaxStep=0.088mm MinFocus=0.44mm MaxFocus=1.32mm start=0.88mm
    vary ri2: Min=0.28mm Max=0.42mm MinStep=0.0036mm MaxStep=0.036mm MinFocus=0.18mm MaxFocus=0.54mm start=0.36mm
    goal dB(S(1,1)) <= -15 weight 1 on Setup1 : Sweep at Freq 12GHz to 18GHz
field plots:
  Mag_E1: E Field over Box1_SweepFaceAlongNormal1.face(at (6, 0.5, -6)) on Setup1 : LastAdaptive at Freq=15GHz Phase=0deg
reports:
  S Parameter Plot 1: dB(S(1,1)) vs Freq on Setup1 : Sweep
  S Parameter Plot 2: dB(S(2,1)) vs Freq on Setup1 : Sweep
  S Parameter Plot 3: dB(S(3,1)) vs Freq on Setup1 : Sweep
  S Parameter Plot 4: dB(S(4,1)) vs Freq on Setup1 : Sweep
  S Parameter Plot 5: dB(S(5,1)) vs Freq on Setup1 : Sweep
  S Parameter Plot 6: arg(S(2,1)), arg(S(3,1)), arg(S(4,1)), arg(S(5,1)) vs Freq on Setup1 : Sweep; markers m1 at 16.32GHz, m2 at 16.32GHz
